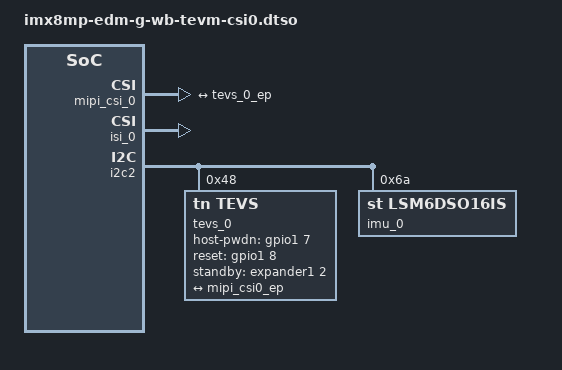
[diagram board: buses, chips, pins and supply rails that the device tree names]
// SPDX-License-Identifier: (GPL-2.0+ OR MIT)
/*
 * Copyright 2026 TechNexion Ltd.
 *
 * Author: Nian Yang <nian.yang@technexion.com>
 *
 */

/dts-v1/;
/plugin/;

#include <dt-bindings/interrupt-controller/irq.h>
#include <dt-bindings/clock/imx8mp-clock.h>
#include <dt-bindings/gpio/gpio.h>

&mipi_csi_0 {
	#address-cells = <1>;
	#size-cells = <0>;
	status = "okay";

	port@0 {
		reg = <0>;
		mipi_csi0_ep: endpoint {
			remote-endpoint = <&tevs_0_ep>;
			data-lanes = <4>;
			csis-hs-settle = <19>;
			csis-clk-settle = <2>;
		};
	};
};

&isi_0 {
	status = "okay";

	cap_device {
		status = "okay";
	};

	m2m_device{
		status = "okay";
	};
};

&i2c2 {
	#address-cells = <1>;
	#size-cells = <0>;

	tevs_0: tevs@48 {
		compatible = "tn,tevs";
		reg = <0x48>;
		status = "okay";

		pinctrl-names = "default";
		pinctrl-0 = <&pinctrl_csi0_pwn>, <&pinctrl_csi0_rst>;
		host-pwdn-gpios = <&gpio1 7 GPIO_ACTIVE_HIGH>;
		reset-gpios = <&gpio1 8 GPIO_ACTIVE_HIGH>;
		standby-gpios = <&expander1 2 GPIO_ACTIVE_HIGH>;

		port {
			tevs_0_ep: endpoint {
				remote-endpoint = <&mipi_csi0_ep>;
				data-lanes = <1 2 3 4>;
				clock-lanes = <0>;
				clock-noncontinuous;
				link-frequencies = /bits/ 64 <400000000>;
			};
		};
	};

	imu_0: lsm6dsm@6a {
		compatible = "st,lsm6dso16is";
		reg = <0x6a>;
	};
};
